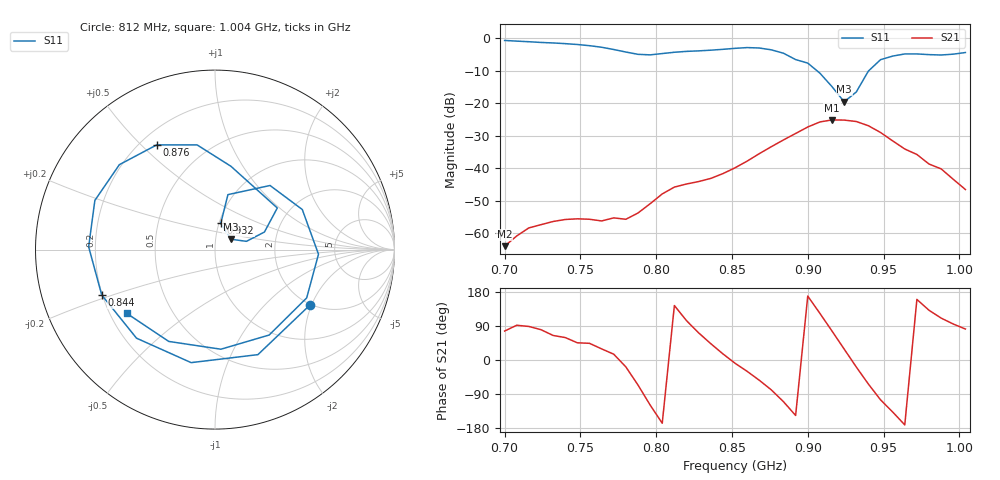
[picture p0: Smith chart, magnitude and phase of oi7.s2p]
# Hz S RI R 50
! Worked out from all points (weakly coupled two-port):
!   39 points, 700 MHz to 1.004 GHz, reference 50 ohm
!   highest |S21| = -25.08 dB at 916 MHz (marker M1); lowest = -64.0 dB at 700 MHz (marker M2)
!   lowest |S11| = -19.5 dB at 924 MHz (marker M3), VSWR 1.24, Z = 59.3 + j6.92 ohm
!   |S11| at or under -10 dB: 906.2 MHz to 940.1 MHz (33.87 MHz wide, 3.67 % of centre)
!   S12 and S22 are empty: the file has one direction only
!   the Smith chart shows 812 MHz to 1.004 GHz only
!   S11 on the Smith chart (normalised r, x): 812 MHz: 1.98, -1.95; 844 MHz: 0.20, -0.19; 876 MHz: 0.26, +0.56; 932 MHz: 1.02, +0.31; 1.004 GHz: 0.27, -0.30
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7e8  0.7676 0.527  0.000149 0.000616  0 0  0 0
7.24e8  0.8278 -0.2607  0.000236 0.00134  0 0  0 0
7.4e8  0.4467 -0.7016  0.000835 0.0014  0 0  0 0
7.56e8  -0.1969 -0.7485  0.00118 0.00114  0 0  0 0
7.72e8  -0.6495 -0.1861  0.00167 0.000456  0 0  0 0
7.8e8  -0.5736 0.2295  0.00156 -0.000515  0 0  0 0
7.88e8  -0.2142 0.5276  0.000835 -0.00188  0 0  0 0
7.96e8  0.2661 0.4913  -0.00137 -0.0025  0 0  0 0
8.04e8  0.57 0.1329  -0.00393 -0.000921  0 0  0 0
8.12e8  0.5302 -0.3076  -0.00415 0.00305  0 0  0 0
8.28e8  -0.133 -0.6297  0.00197 0.00595  0 0  0 0
8.44e8  -0.631 -0.2531  0.00797 0.00232  0 0  0 0
8.52e8  -0.704 0.0156  0.0101 -0.0015  0 0  0 0
8.76e8  -0.325 0.5833  0.00411 -0.0212  0 0  0 0
9e8  0.3471 0.2318  -0.0425 0.00852  0 0  0 0
9.08e8  0.2754 0.0979  -0.0283 0.0434  0 0  0 0
9.16e8  0.1752 0.0461  0.0131 0.0541  0 0  0 0
9.24e8  0.0888 0.0577  0.0484 0.0268  0 0  0 0
9.32e8  0.0322 0.1462  0.05 -0.0166  0 0  0 0
9.56e8  0.4863 0.2233  -0.0194 -0.018  0 0  0 0
9.8e8  0.3017 -0.476  -0.00769 0.00876  0 0  0 0
1.004e9  -0.4924 -0.3547  0.00068 0.00468  0 0  0 0
